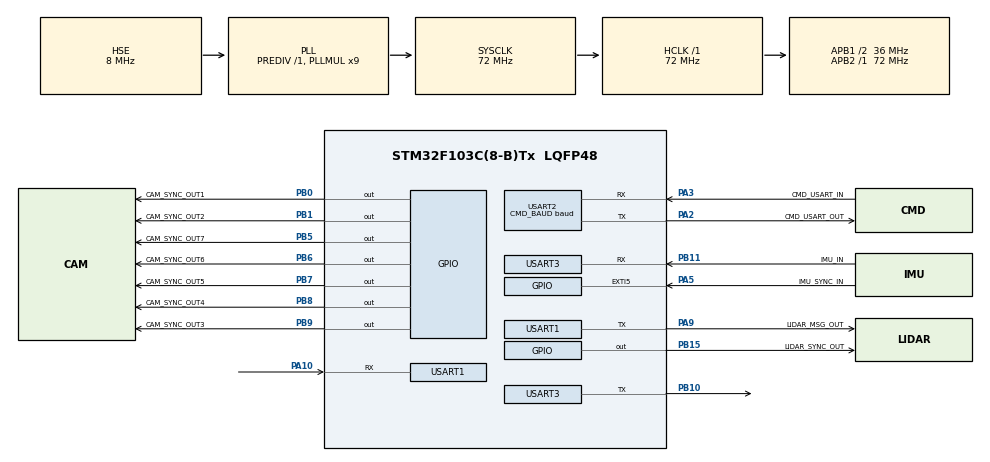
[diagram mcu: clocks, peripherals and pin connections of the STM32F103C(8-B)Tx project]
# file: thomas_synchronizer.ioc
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Mcu.Family=STM32F1
Mcu.Name=STM32F103C(8-B)Tx
Mcu.Package=LQFP48
Mcu.UserConstants=LIDAR_BAUD,115200;IMU_BAUD,460800;CMD_BAUD,9600
NVIC.EXTI9_5_IRQn=true\:0\:0\:false\:false\:true\:true\:true
NVIC.PriorityGroup=NVIC_PRIORITYGROUP_4
NVIC.USART3_IRQn=true\:0\:0\:false\:false\:true\:true\:true
PA10.Mode=Asynchronous
PA10.Signal=USART1_RX
PA13.Mode=Serial_Wire
PA13.Signal=SYS_JTMS-SWDIO
PA14.Mode=Serial_Wire
PA14.Signal=SYS_JTCK-SWCLK
PA2.GPIO_Label=CMD_USART_OUT
PA2.Mode=Asynchronous
PA2.Signal=USART2_TX
PA3.GPIO_Label=CMD_USART_IN
PA3.Mode=Asynchronous
PA3.Signal=USART2_RX
PA5.GPIO_Label=IMU_SYNC_IN
PA5.Signal=GPXTI5
PA9.GPIO_Label=LIDAR_MSG_OUT
PA9.Mode=Asynchronous
PA9.Signal=USART1_TX
PB0.GPIO_Label=CAM_SYNC_OUT1
PB0.Signal=GPIO_Output
PB1.GPIO_Label=CAM_SYNC_OUT2
PB1.Signal=GPIO_Output
PB10.Mode=Asynchronous
PB10.Signal=USART3_TX
PB11.GPIO_Label=IMU_IN
PB11.Mode=Asynchronous
PB11.Signal=USART3_RX
PB15.GPIO_Label=LIDAR_SYNC_OUT
PB15.Signal=GPIO_Output
PB5.GPIO_Label=CAM_SYNC_OUT7
PB5.Signal=GPIO_Output
PB6.GPIO_Label=CAM_SYNC_OUT6
PB6.Signal=GPIO_Output
PB7.GPIO_Label=CAM_SYNC_OUT5
PB7.Signal=GPIO_Output
PB8.GPIO_Label=CAM_SYNC_OUT4
PB8.Signal=GPIO_Output
PB9.GPIO_Label=CAM_SYNC_OUT3
PB9.Signal=GPIO_Output
PD0-OSC_IN.Mode=HSE-External-Oscillator
PD0-OSC_IN.Signal=RCC_OSC_IN
PD1-OSC_OUT.Mode=HSE-External-Oscillator
PD1-OSC_OUT.Signal=RCC_OSC_OUT
ProjectManager.HeapSize=0x200
ProjectManager.StackSize=0x400
ProjectManager.TargetToolchain=SW4STM32
RCC.AHBFreq_Value=72000000
RCC.APB1CLKDivider=RCC_HCLK_DIV2
RCC.APB1Freq_Value=36000000
RCC.APB1TimFreq_Value=72000000
RCC.APB2Freq_Value=72000000
RCC.APB2TimFreq_Value=72000000
RCC.HCLKFreq_Value=72000000
RCC.PLLMUL=RCC_PLL_MUL9
RCC.PLLSourceVirtual=RCC_PLLSOURCE_HSE
RCC.SYSCLKFreq_VALUE=72000000
RCC.SYSCLKSource=RCC_SYSCLKSOURCE_PLLCLK
RCC.USBFreq_Value=72000000
USART1.BaudRate=LIDAR_BAUD
USART1.Mode=MODE_TX
USART1.VirtualMode=VM_ASYNC
USART2.BaudRate=CMD_BAUD
USART2.VirtualMode=VM_ASYNC
USART3.BaudRate=IMU_BAUD
USART3.Mode=MODE_RX
USART3.VirtualMode=VM_ASYNC
board=custom

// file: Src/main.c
/* USER CODE BEGIN Header */
/**
  ******************************************************************************
  * @file           : main.c
  * @brief          : Main program body
  ******************************************************************************
  * @attention
  *
  * <h2><center>&copy; Copyright (c) 2019 STMicroelectronics.
  * All rights reserved.</center></h2>
  *
  * This software component is licensed by ST under BSD 3-Clause license,
  * the "License"; You may not use this file except in compliance with the
  * License. You may obtain a copy of the License at:
  *                        opensource.org/licenses/BSD-3-Clause
  *
  ******************************************************************************
  */
/* USER CODE END Header */

#include "main.h"

/* USER CODE BEGIN Includes */
#include <string.h>
#include <stdlib.h>
#include "stm32f1xx_hal_gpio.h"
/* USER CODE END Includes */

/* USER CODE BEGIN PM */
#define IMU_UART huart3
#define LASER_UART huart1
#define CMD_UART huart2
#define uputs(buf, len) HAL_UART_Transmit(&CMD_UART, (uint8_t *)buf, len, 0xFFFF)
#define uputs2(buf) uputs(buf, strlen(buf))
/* USER CODE END PM */

UART_HandleTypeDef huart1;
UART_HandleTypeDef huart2;
UART_HandleTypeDef huart3;

/* USER CODE BEGIN PV */
const int CAM_FREQ_DIV[7] = {25, 5, 5, 5, 5, 5, 5};
const int LASER_DIV = 400;
const int IMU_FREQ = 400;

uint32_t counter = 0;
int send_gps = 0;
int gps_pulse_sent = 0;

uint16_t CAM_SYNC_OUT_Pin[7] = {
		CAM_SYNC_OUT1_Pin, CAM_SYNC_OUT2_Pin, CAM_SYNC_OUT3_Pin, CAM_SYNC_OUT4_Pin,
		CAM_SYNC_OUT5_Pin, CAM_SYNC_OUT6_Pin, CAM_SYNC_OUT7_Pin};
GPIO_TypeDef* CAM_SYNC_OUT_GPIO_Port[7] = {
		CAM_SYNC_OUT1_GPIO_Port, CAM_SYNC_OUT2_GPIO_Port, CAM_SYNC_OUT3_GPIO_Port, CAM_SYNC_OUT4_GPIO_Port,
		CAM_SYNC_OUT5_GPIO_Port, CAM_SYNC_OUT6_GPIO_Port, CAM_SYNC_OUT7_GPIO_Port};
const int CAM_CNT = sizeof(CAM_SYNC_OUT_Pin) / sizeof(uint16_t);

/* USER CODE END PV */

void SystemClock_Config(void);
static void MX_GPIO_Init(void);
static void MX_USART1_UART_Init(void);
static void MX_USART3_UART_Init(void);
static void MX_USART2_UART_Init(void);

/* USER CODE BEGIN 0 */
uint8_t imu_buf_single[1];

/* USER CODE END 0 */

int main(void)
{

  /* MCU Configuration--------------------------------------------------------*/

  /* Reset of all peripherals, Initializes the Flash interface and the Systick. */
  HAL_Init();

  /* Configure the system clock */
  SystemClock_Config();

  /* Initialize all configured peripherals */
  MX_GPIO_Init();
  MX_USART1_UART_Init();
  MX_USART3_UART_Init();
  MX_USART2_UART_Init();
  /* USER CODE BEGIN 2 */
  HAL_UART_Receive_IT(&IMU_UART, (uint8_t *)imu_buf_single, 1);
  char content[] = "$GPRMC,000000,A,hh.mm,N,ss.00,E,3.3,4.4,010117,004.2,W*";
  /* USER CODE END 2 */

  /* Infinite loop */
  /* USER CODE BEGIN WHILE */
  printf("Hello world\n");
  while (1)
  {
    /* USER CODE END WHILE */

    /* USER CODE BEGIN 3 */
    if (send_gps)
    {
      send_gps = 0;

      int hh, mm, ss;
      ss = counter / IMU_FREQ;
      mm = ss / 60;	// 60 seconds per minute
      ss = ss % 60;
      hh = mm / 60; // 60 minute per hour
      mm = mm % 60;

      content[7] = content[16] = '0' + hh / 10;
      content[8] = content[17] = '0' + hh % 10;
      content[9] = content[19] = '0' + mm / 10;
      content[10] = content[20] = '0' + mm % 10;
      content[11] = content[24] = '0' + ss / 10;
      content[12] = content[25] = '0' + ss % 10;

      char cs;
      cs = 0x00;
      for (int i = 1; i < strlen(content) - 1; ++i)
      {
        cs ^= content[i];
      }

      char cs_str[2];
      itoa(cs, cs_str, 16);

      uputs(content, strlen(content));
      uputs(cs_str, 2);
      uputs("\r\n", 2);
    }
  }
  /* USER CODE END 3 */
}

void SystemClock_Config(void)
{
  RCC_OscInitTypeDef RCC_OscInitStruct = {0};
  RCC_ClkInitTypeDef RCC_ClkInitStruct = {0};

  /** Initializes the CPU, AHB and APB busses clocks
  */
  RCC_OscInitStruct.OscillatorType = RCC_OSCILLATORTYPE_HSE;
  RCC_OscInitStruct.HSEState = RCC_HSE_ON;
  RCC_OscInitStruct.HSEPredivValue = RCC_HSE_PREDIV_DIV1;
  RCC_OscInitStruct.HSIState = RCC_HSI_ON;
  RCC_OscInitStruct.PLL.PLLState = RCC_PLL_ON;
  RCC_OscInitStruct.PLL.PLLSource = RCC_PLLSOURCE_HSE;
  RCC_OscInitStruct.PLL.PLLMUL = RCC_PLL_MUL9;
  if (HAL_RCC_OscConfig(&RCC_OscInitStruct) != HAL_OK)
  {
    Error_Handler();
  }
  /** Initializes the CPU, AHB and APB busses clocks
  */
  RCC_ClkInitStruct.ClockType = RCC_CLOCKTYPE_HCLK|RCC_CLOCKTYPE_SYSCLK
                              |RCC_CLOCKTYPE_PCLK1|RCC_CLOCKTYPE_PCLK2;
  RCC_ClkInitStruct.SYSCLKSource = RCC_SYSCLKSOURCE_PLLCLK;
  RCC_ClkInitStruct.AHBCLKDivider = RCC_SYSCLK_DIV1;
  RCC_ClkInitStruct.APB1CLKDivider = RCC_HCLK_DIV2;
  RCC_ClkInitStruct.APB2CLKDivider = RCC_HCLK_DIV1;

  if (HAL_RCC_ClockConfig(&RCC_ClkInitStruct, FLASH_LATENCY_2) != HAL_OK)
  {
    Error_Handler();
  }
}

static void MX_USART1_UART_Init(void)
{

  huart1.Instance = USART1;
  huart1.Init.BaudRate = LIDAR_BAUD;
  huart1.Init.WordLength = UART_WORDLENGTH_8B;
  huart1.Init.StopBits = UART_STOPBITS_1;
  huart1.Init.Parity = UART_PARITY_NONE;
  huart1.Init.Mode = UART_MODE_TX;
  huart1.Init.HwFlowCtl = UART_HWCONTROL_NONE;
  huart1.Init.OverSampling = UART_OVERSAMPLING_16;
  if (HAL_UART_Init(&huart1) != HAL_OK)
  {
    Error_Handler();
  }

}

static void MX_USART2_UART_Init(void)
{

  huart2.Instance = USART2;
  huart2.Init.BaudRate = CMD_BAUD;
  huart2.Init.WordLength = UART_WORDLENGTH_8B;
  huart2.Init.StopBits = UART_STOPBITS_1;
  huart2.Init.Parity = UART_PARITY_NONE;
  huart2.Init.Mode = UART_MODE_TX_RX;
  huart2.Init.HwFlowCtl = UART_HWCONTROL_NONE;
  huart2.Init.OverSampling = UART_OVERSAMPLING_16;
  if (HAL_UART_Init(&huart2) != HAL_OK)
  {
    Error_Handler();
  }

}

static void MX_USART3_UART_Init(void)
{

  huart3.Instance = USART3;
  huart3.Init.BaudRate = IMU_BAUD;
  huart3.Init.WordLength = UART_WORDLENGTH_8B;
  huart3.Init.StopBits = UART_STOPBITS_1;
  huart3.Init.Parity = UART_PARITY_NONE;
  huart3.Init.Mode = UART_MODE_RX;
  huart3.Init.HwFlowCtl = UART_HWCONTROL_NONE;
  huart3.Init.OverSampling = UART_OVERSAMPLING_16;
  if (HAL_UART_Init(&huart3) != HAL_OK)
  {
    Error_Handler();
  }

}

static void MX_GPIO_Init(void)
{
  GPIO_InitTypeDef GPIO_InitStruct = {0};

  /* GPIO Ports Clock Enable */
  __HAL_RCC_GPIOD_CLK_ENABLE();
  __HAL_RCC_GPIOA_CLK_ENABLE();
  __HAL_RCC_GPIOB_CLK_ENABLE();

  /*Configure GPIO pin Output Level */
  HAL_GPIO_WritePin(GPIOB, CAM_SYNC_OUT1_Pin|CAM_SYNC_OUT2_Pin|LIDAR_SYNC_OUT_Pin|CAM_SYNC_OUT7_Pin
                          |CAM_SYNC_OUT6_Pin|CAM_SYNC_OUT5_Pin|CAM_SYNC_OUT4_Pin|CAM_SYNC_OUT3_Pin, GPIO_PIN_RESET);

  /*Configure GPIO pin : IMU_SYNC_IN_Pin */
  GPIO_InitStruct.Pin = IMU_SYNC_IN_Pin;
  GPIO_InitStruct.Mode = GPIO_MODE_IT_RISING;
  GPIO_InitStruct.Pull = GPIO_NOPULL;
  HAL_GPIO_Init(IMU_SYNC_IN_GPIO_Port, &GPIO_InitStruct);

  /*Configure GPIO pins : CAM_SYNC_OUT1_Pin CAM_SYNC_OUT2_Pin LIDAR_SYNC_OUT_Pin CAM_SYNC_OUT7_Pin
                           CAM_SYNC_OUT6_Pin CAM_SYNC_OUT5_Pin CAM_SYNC_OUT4_Pin CAM_SYNC_OUT3_Pin */
  GPIO_InitStruct.Pin = CAM_SYNC_OUT1_Pin|CAM_SYNC_OUT2_Pin|LIDAR_SYNC_OUT_Pin|CAM_SYNC_OUT7_Pin
                          |CAM_SYNC_OUT6_Pin|CAM_SYNC_OUT5_Pin|CAM_SYNC_OUT4_Pin|CAM_SYNC_OUT3_Pin;
  GPIO_InitStruct.Mode = GPIO_MODE_OUTPUT_PP;
  GPIO_InitStruct.Pull = GPIO_NOPULL;
  GPIO_InitStruct.Speed = GPIO_SPEED_FREQ_LOW;
  HAL_GPIO_Init(GPIOB, &GPIO_InitStruct);

  /* EXTI interrupt init*/
  HAL_NVIC_SetPriority(EXTI9_5_IRQn, 0, 0);
  HAL_NVIC_EnableIRQ(EXTI9_5_IRQn);

}

/* USER CODE BEGIN 4 */
uint8_t buf[300];
uint16_t buf_p = 0;
uint16_t data_len = 0;
uint8_t data = 0;
void HAL_UART_RxCpltCallback(UART_HandleTypeDef *huart)
{
  /* Prevent unused argument(s) compilation warning */
  UNUSED(huart);

  data = imu_buf_single[0];

  if (buf_p >= 300)
  {
    buf_p = 0;
    return;
  }
  else
  {
    buf[buf_p++] = data;
  }

  if (data == 0xfa)
  {
    // HAL_GPIO_TogglePin(LiDAR_SyncOut_GPIO_Port, LiDAR_SyncOut_Pin);
  }

  if (buf_p == 1)
  {
    if (data != 0xfa)
    {
      buf_p = 0;
    }
  }
  else if (buf_p == 2)
  {
    if (data != 0xff)
    {
      buf_p = 0;
    }
  }
  else if (buf_p == 4)
  {
    data_len = data;
  }
  else if (buf_p == (5 + data_len))
  {
    // Check it
    uint16_t sum = 0;
    for (int i = 1; i < buf_p; ++i)
      sum += buf[i];
    if ((sum & 0x00ff) == 0)
    {
      // checksum pass
      if (buf[2] == 0x36)
      {
        if (data_len >= 5)
        {
          if (buf[4] == 0x10 && buf[5] == 0x20 && buf[6] == 2)
          {
            uint32_t short_counter = ((uint32_t)buf[7] << 8) | buf[8];

            uint32_t sample_time_fine = ((uint32_t)buf[12] << 24) |
                                        ((uint32_t)buf[13] << 16) |
                                        ((uint32_t)buf[14] <<  8) |
                                        ((uint32_t)buf[15] <<  0);
            uint32_t sample_time_coarse = ((uint32_t)buf[19] << 24) |
                                          ((uint32_t)buf[20] << 16) |
                                          ((uint32_t)buf[21] <<  8) |
                                          ((uint32_t)buf[22] <<  0);

            double sample_time = (sample_time_coarse + (sample_time_fine % 10000) / 10000.0);

             counter = (uint32_t)((sample_time * 400 - short_counter) / (1 << 16)) * (1 << 16) + short_counter;

            if (gps_pulse_sent)
            {
              gps_pulse_sent = 0;
              send_gps = 1;
            }
          }
          else
          {
            uputs2("No sample time?\r\n");
          }
        }
        else
        {
          uputs2("Too short MTData2\r\n");
        }
      }
    }
    else
    {
      uputs2("Checksum failed\r\n");
    }
    buf_p = 0;
  }
  else if (buf_p > (5 + data_len))
  {
    buf_p = 0;
    uputs2("WTF?\r\n");
  }
  HAL_UART_Receive_IT(&IMU_UART, (uint8_t *)imu_buf_single, 1);
}

void HAL_GPIO_EXTI_Callback(uint16_t GPIO_Pin)
{
  if (GPIO_Pin == GPIO_PIN_5)
  {
    /* For camera */
    for (int i = 0; i < CAM_CNT; ++i)
    {
      if (((counter) % CAM_FREQ_DIV[i]) == 0)
      {
        HAL_GPIO_WritePin(CAM_SYNC_OUT_GPIO_Port[i], CAM_SYNC_OUT_Pin[i],
            GPIO_PIN_SET);
      }
      else if (((counter ) % CAM_FREQ_DIV[i]) == 1)
      {
        HAL_GPIO_WritePin(CAM_SYNC_OUT_GPIO_Port[i], CAM_SYNC_OUT_Pin[i],
            GPIO_PIN_RESET);
      }
    }

    /* For LiDAR */
    if (((counter) % LASER_DIV) == 0)
    {
      HAL_GPIO_WritePin(LIDAR_SYNC_OUT_GPIO_Port, LIDAR_SYNC_OUT_Pin, GPIO_PIN_SET);
      gps_pulse_sent = 1;
    }
    else if (((counter) % LASER_DIV) == 10)
    {
      HAL_GPIO_WritePin(LIDAR_SYNC_OUT_GPIO_Port, LIDAR_SYNC_OUT_Pin, GPIO_PIN_RESET);
    }
  }
}

/* USER CODE END 4 */

void Error_Handler(void)
{
}

/************************ (C) COPYRIGHT STMicroelectronics *****END OF FILE****/
